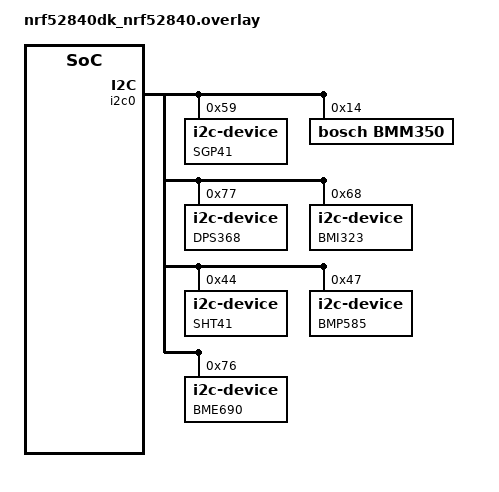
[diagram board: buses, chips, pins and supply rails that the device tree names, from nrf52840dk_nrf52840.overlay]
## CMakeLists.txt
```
# SPDX-License-Identifier: Apache-2.0

cmake_minimum_required(VERSION 3.20.0)
find_package(Zephyr REQUIRED HINTS $ENV{ZEPHYR_BASE})
project(rab7_sensorfusion)

target_sources(app PRIVATE src/main.c)
target_sources(app PRIVATE src/sgp41.c)
target_sources(app PRIVATE src/dps368.c)
target_sources(app PRIVATE src/bmi323.c)
target_sources(app PRIVATE src/sht41.c)

target_sources(app PRIVATE src/bmp585/bmp_driver.c)
target_sources(app PRIVATE src/bmp585/bmp5.c)
target_sources(app PRIVATE src/bmp585/bmp585_app.c)

target_sources(app PRIVATE src/bme690/bme_driver.c)
target_sources(app PRIVATE src/bme690/bme69x.c)
target_sources(app PRIVATE src/bme690/bme690_app.c)

target_sources(app PRIVATE src/sensirion_gas_index_algorithm.c)
```

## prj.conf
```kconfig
# Increase stack size for the main thread and System Workqueue
CONFIG_SYSTEM_WORKQUEUE_STACK_SIZE=2048
CONFIG_MAIN_STACK_SIZE=4096

# I2C and GPIO
CONFIG_GPIO=y
CONFIG_I2C=y

# Bluetooth
CONFIG_BT=y
CONFIG_BT_PERIPHERAL=y
CONFIG_BT_DEVICE_NAME="RDK3_Nordic_Std"
CONFIG_BT_DIS=y
CONFIG_BT_DIS_SW_REV=y
CONFIG_BT_DIS_SW_REV_STR="1.3"
CONFIG_BT_DIS_MODEL="Nordic_Std"
CONFIG_BT_BUF_ACL_RX_SIZE=247
CONFIG_BT_L2CAP_TX_MTU=247
CONFIG_BT_RX_STACK_SIZE=8192

# BMM350
CONFIG_SENSOR=y
CONFIG_BMM350=y

# Enable FPU for math
CONFIG_FPU=y
```

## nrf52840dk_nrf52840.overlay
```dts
// To get started, press Ctrl+Space to bring up the completion menu and view the available nodes.

// You can also use the buttons in the sidebar to perform actions on nodes.
// Actions currently available include:

// * Enabling / disabling the node
// * Adding the bus to a bus
// * Removing the node
// * Connecting ADC channels

// For more help, browse the DeviceTree documentation at https://docs.zephyrproject.org/latest/guides/dts/index.html
// You can also visit the nRF DeviceTree extension documentation at https://docs.nordicsemi.com/bundle/nrf-connect-vscode/page/guides/ncs_configure_app.html#devicetree-support-in-the-extension

&i2c0 {
    sgp41sensor: sgp41sensor@59 {
        compatible = "i2c-device";
        reg = < 0x59 >;
        label = "SGP41";  
    };

    bmm350@14 {
        compatible="bosch,bmm350";
        reg = < 0x14 >;
        label = "BMM350";
    };

    dps368sensor: dps368sensor@77 {
        compatible = "i2c-device";
        reg = < 0x77 >;
        label = "DPS368";  
    };

    bmi323sensor: bmi323sensor@68 {
        compatible = "i2c-device";
        reg = < 0x68 >;
        label = "BMI323";  
    };

    sht41sensor: sht41sensor@44 {
        compatible = "i2c-device";
        reg = < 0x44 >;
        label = "SHT41";  
    };

    bmp585sensor: bmp585sensor@47 {
        compatible = "i2c-device";
        reg = < 0x47 >;
        label = "BMP585";  
    };

    bme690sensor: bme690sensor@76 {
        compatible = "i2c-device";
        reg = < 0x76 >;
        label = "BME690";  
    };
};
```

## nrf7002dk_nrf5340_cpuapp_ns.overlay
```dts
// To get started, press Ctrl+Space to bring up the completion menu and view the available nodes.

// You can also use the buttons in the sidebar to perform actions on nodes.
// Actions currently available include:

// * Enabling / disabling the node
// * Adding the bus to a bus
// * Removing the node
// * Connecting ADC channels

// For more help, browse the DeviceTree documentation at https://docs.zephyrproject.org/latest/guides/dts/index.html
// You can also visit the nRF DeviceTree extension documentation at https://docs.nordicsemi.com/bundle/nrf-connect-vscode/page/guides/ncs_configure_app.html#devicetree-support-in-the-extension
&i2c1 {
    sgp41sensor: sgp41sensor@59 {
        compatible = "i2c-device";
        reg = < 0x59 >;
        label = "SGP41";  
    };

    bmm350@14 {
        compatible="bosch,bmm350";
        reg = < 0x14 >;
        label = "BMM350";
    };

    dps368sensor: dps368sensor@77 {
        compatible = "i2c-device";
        reg = < 0x77 >;
        label = "DPS368";  
    };

    bmi323sensor: bmi323sensor@68 {
        compatible = "i2c-device";
        reg = < 0x68 >;
        label = "BMI323";  
    };

    sht41sensor: sht41sensor@44 {
        compatible = "i2c-device";
        reg = < 0x44 >;
        label = "SHT41";  
    };

    bmp585sensor: bmp585sensor@47 {
        compatible = "i2c-device";
        reg = < 0x47 >;
        label = "BMP585";  
    };

    bme690sensor: bme690sensor@76 {
        compatible = "i2c-device";
        reg = < 0x76 >;
        label = "BME690";  
    };
};
```

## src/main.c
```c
/*
 * Copyright (c) 2016 Intel Corporation
 *
 * SPDX-License-Identifier: Apache-2.0
 */

#include <stdio.h>
#include <zephyr/kernel.h>
#include <zephyr/drivers/gpio.h>

#include <zephyr/drivers/i2c.h>

#include "sgp41.h"
#include "dps368.h"
#include "bmi323.h"
#include "sht41.h"
#include "bmp585/bmp_driver.h"
#include "bmp585/bmp585_app.h"
#include "bme690/bme_driver.h"
#include "bme690/bme690_app.h"

#include <zephyr/bluetooth/bluetooth.h>
#include <zephyr/bluetooth/conn.h>
#include <zephyr/bluetooth/hci.h>
#include <zephyr/bluetooth/uuid.h>
#include <zephyr/bluetooth/gatt.h>

#include <zephyr/drivers/sensor.h>

#include "sensirion_gas_index_algorithm.h"

/**
 * Service UUID (same as RDK3)
 */
#define BT_UUID_SERVICE_VAL \
	BT_UUID_128_ENCODE(0x76B6758B, 0xFEDC, 0x45F0, 0xA5A4, 0x4F49559BD71D)

#define BT_UUID_CHAR_VAL \
	BT_UUID_128_ENCODE(0x9DC72F3C, 0x9623, 0x479B, 0xB2E3, 0xCA83316A0A0F)

#define BT_UUID_SERVICE	BT_UUID_DECLARE_128(BT_UUID_SERVICE_VAL)
#define BT_UUID_CHAR	BT_UUID_DECLARE_128(BT_UUID_CHAR_VAL)

static bool notify_mysensor_enabled = false;

static ssize_t write_char(struct bt_conn *conn, const struct bt_gatt_attr *attr, const void *buf,
			 uint16_t len, uint16_t offset, uint8_t flags);

/* STEP 13 - Define the configuration change callback function for the MYSENSOR characteristic */
static void mylbsbc_ccc_mysensor_cfg_changed(const struct bt_gatt_attr *attr, uint16_t value)
{
	notify_mysensor_enabled = (value == BT_GATT_CCC_NOTIFY);

	printk("Notify enabled: %d \n", (int)notify_mysensor_enabled);
}

BT_GATT_SERVICE_DEFINE(my_lbs_svc, BT_GATT_PRIMARY_SERVICE(BT_UUID_SERVICE),
				BT_GATT_CHARACTERISTIC(BT_UUID_CHAR, BT_GATT_CHRC_WRITE | BT_GATT_CHRC_NOTIFY, BT_GATT_PERM_WRITE, NULL, write_char, NULL),
				BT_GATT_CCC(mylbsbc_ccc_mysensor_cfg_changed, BT_GATT_PERM_READ | BT_GATT_PERM_WRITE),
);

static ssize_t write_char(struct bt_conn *conn, const struct bt_gatt_attr *attr, const void *buf,
			 uint16_t len, uint16_t offset, uint8_t flags)
{
	printk("write_char - len is %d \n", len);

	uint8_t cmd = *((uint8_t*) buf);

	printk("CMD is : %d \n", (int)cmd);

	/*const char *value = attr->user_data;

	some_data = some_data + 1;

	return bt_gatt_attr_read(conn, attr, buf, len, offset, value, sizeof(*value));*/

	if (cmd == 0)
	{
		uint32_t sensors = (1 << 6); // RAB7
		int retval = bt_gatt_notify(NULL, &my_lbs_svc.attrs[2], &sensors, sizeof(sensors));
		printk("Write char: %d \n", retval);
	}

	return len;
}

/* 1000 msec = 1 sec */
#define SLEEP_TIME_MS   1000

/* The devicetree node identifier for the "led0" alias. */
#define LED0_NODE DT_ALIAS(led0)

// Get access to SGP41 sensor
#define I2C_SGP41_NODE DT_NODELABEL(sgp41sensor)

// Get access to the DPS368 sensor
#define I2C_DPS368_NODE DT_NODELABEL(dps368sensor)

// Get access to the BMI323 sensor
#define I2C_BMI323_NODE DT_NODELABEL(bmi323sensor)

// Get access to the SHT41 sensor
#define I2C_SHT41_NODE DT_NODELABEL(sht41sensor)

// Get access to the BMP585
#define I2C_BMP585_NODE DT_NODELABEL(bmp585sensor)

// Get access to the BME690
#define I2C_BME690_NODE DT_NODELABEL(bme690sensor)

/*
 * A build error on this line means your board is unsupported.
 * See the sample documentation for information on how to fix this.
 */
static const struct gpio_dt_spec led = GPIO_DT_SPEC_GET(LED0_NODE, gpios);

// BT initialization handler
static void bt_ready(int err) 
{
	printf("bt_ready: %d\n", err);
    if (err) {
        return;
    }
}

#define DEVICE_NAME             CONFIG_BT_DEVICE_NAME
#define DEVICE_NAME_LEN         (sizeof(DEVICE_NAME) - 1)

/**
 * Advertising data
 */
static const struct bt_data ad[] = {
	BT_DATA_BYTES(BT_DATA_FLAGS, (BT_LE_AD_GENERAL | BT_LE_AD_NO_BREDR)),
	BT_DATA(BT_DATA_NAME_COMPLETE, DEVICE_NAME, DEVICE_NAME_LEN),
};

/**
 * Scan response packet
 */

static unsigned char url_data[] ={0x17,'/','/','r','u','t','r','o','n','i','k','.','c','o','m'};

/*static const struct bt_data sd[] = {
    BT_DATA_BYTES(BT_DATA_UUID128_ALL, 0x84, 0xaa, 0x60, 0x74, 0x52, 0x8a, 0x8b,
                  0x86, 0xd3, 0x4c, 0xb7, 0x1d, 0x1d, 0xdc, 0x53, 0x8d),
};*/
static const struct bt_data sd[] = {
    BT_DATA(BT_DATA_URI, url_data,sizeof(url_data)),
};

struct bt_conn *my_conn;

static void connected(struct bt_conn *conn, uint8_t err) {
    printk("BLE connected: err = %d\n", err);

	if(err){
		printk("Error, return...\n");
		return;
	}

	my_conn = bt_conn_ref(conn);

	// gpio_pin_set_dt(&led_ble_connection, 1);
}

static void disconnected(struct bt_conn *conn, uint8_t reason) {
    printk("BLE disconnected: reason = %d\n", reason);

	bt_conn_unref(my_conn);

	// gpio_pin_set_dt(&led_ble_connection, 0);
}

void on_le_param_updated(struct bt_conn *conn, uint16_t interval, uint16_t latency, uint16_t timeout)
{
    double connection_interval = interval*1.25;         // in ms
    uint16_t supervision_timeout = timeout*10;          // in ms
    printk("Connection parameters updated: interval %.2f ms, latency %d intervals, timeout %d ms\n", connection_interval, latency, supervision_timeout);
}

static const struct bt_le_adv_param *adv_param = BT_LE_ADV_PARAM((BT_LE_ADV_OPT_CONN|BT_LE_ADV_OPT_USE_IDENTITY), 
                800, /*Min Advertising Interval 500ms (800*0.625ms) */
                801, /*Max Advertising Interval 500.625ms (801*0.625ms)*/
                NULL); /* Set to NULL for undirected advertising*/

static struct k_work adv_work;

static void adv_work_handler(struct k_work *work)
{
	int err = bt_le_adv_start(adv_param, ad, ARRAY_SIZE(ad), sd, ARRAY_SIZE(sd));

	if (err) {
		printk("Advertising failed to start (err %d)\n", err);
		return;
	}

	printk("Advertising successfully started\n");
}

static void advertising_start(void)
{
	k_work_submit(&adv_work);
}
static void recycled_cb(void)
{
	printk("Connection object available from previous conn. Disconnect is complete!\n");
	advertising_start();
}

static struct bt_conn_cb conn_callbacks = {
    .connected = connected,
    .disconnected = disconnected,
	.le_param_updated = on_le_param_updated,
	.recycled = recycled_cb
};

static void notify_sgp41_value(uint16_t voc_raw, uint16_t nox_raw, int32_t voc_index, int32_t nox_index)
{
	uint8_t data_packet[16] = {0};
	const uint16_t sensor_id = 0x10;
	const uint8_t data_size = 12;
	const uint8_t notification_size = data_size + 4;
	
	data_packet[0] = (uint8_t) (sensor_id & 0xFF);
	data_packet[1] = (uint8_t) (sensor_id >> 8);

	data_packet[2] = data_size;

	*((uint16_t*) &data_packet[3]) = voc_raw;
	*((uint16_t*) &data_packet[5]) = nox_raw;
	*((int32_t*) &data_packet[7]) = voc_index;
	*((int32_t*) &data_packet[11]) = nox_index;

	data_packet[notification_size - 1] = 0x3;

	if (notify_mysensor_enabled)
	{
		bt_gatt_notify(NULL, &my_lbs_svc.attrs[2], data_packet, sizeof(data_packet));
	}
}

static void notify_bmm350_value(float temperature, float mag_x, float mag_y, float mag_z)
{
	uint8_t data_packet[20] = {0};
	const uint16_t sensor_id = 0x11;
	const uint8_t data_size = 16;
	const uint8_t notification_size = data_size + 4;
	
	data_packet[0] = (uint8_t) (sensor_id & 0xFF);
	data_packet[1] = (uint8_t) (sensor_id >> 8);

	data_packet[2] = data_size;

	*((float*) &data_packet[3]) = temperature;
	*((float*) &data_packet[7]) = mag_x;
	*((float*) &data_packet[11]) = mag_y;
	*((float*) &data_packet[15]) = mag_z;

	data_packet[notification_size - 1] = 0x3;

	if (notify_mysensor_enabled)
	{
		bt_gatt_notify(NULL, &my_lbs_svc.attrs[2], data_packet, sizeof(data_packet));
	}
}

static void notify_dps368_value(float pressure, float temperature)
{
	uint8_t data_packet[12] = {0};
	const uint16_t sensor_id = 0x14;
	const uint8_t data_size = 8;
	const uint8_t notification_size = data_size + 4;
	
	data_packet[0] = (uint8_t) (sensor_id & 0xFF);
	data_packet[1] = (uint8_t) (sensor_id >> 8);

	data_packet[2] = data_size;

	*((float*) &data_packet[3]) = pressure;
	*((float*) &data_packet[7]) = temperature;

	data_packet[notification_size - 1] = 0x3;

	if (notify_mysensor_enabled)
	{
		bt_gatt_notify(NULL, &my_lbs_svc.attrs[2], data_packet, sizeof(data_packet));
	}
}

static void notify_bmi323_value(bmi323_values_t value)
{
	uint8_t data_packet[16] = {0};
	const uint16_t sensor_id = 0x15;
	const uint8_t data_size = 12;
	const uint8_t notification_size = data_size + 4;
	
	data_packet[0] = (uint8_t) (sensor_id & 0xFF);
	data_packet[1] = (uint8_t) (sensor_id >> 8);

	data_packet[2] = data_size;

	*((int16_t*) &data_packet[3]) = value.acc_x;
	*((int16_t*) &data_packet[5]) = value.acc_y;
	*((int16_t*) &data_packet[7]) = value.acc_z;
	*((int16_t*) &data_packet[9]) = value.gyr_x;
	*((int16_t*) &data_packet[11]) = value.gyr_y;
	*((int16_t*) &data_packet[13]) = value.gyr_z;

	data_packet[notification_size - 1] = 0x3;

	if (notify_mysensor_enabled)
	{
		bt_gatt_notify(NULL, &my_lbs_svc.attrs[2], data_packet, sizeof(data_packet));
	}
}

static void notify_sht41_value(float temperature, float humidity)
{
	uint8_t data_packet[12] = {0};
	const uint16_t sensor_id = 0x1;
	const uint8_t data_size = 8;
	const uint8_t notification_size = data_size + 4;
	
	data_packet[0] = (uint8_t) (sensor_id & 0xFF);
	data_packet[1] = (uint8_t) (sensor_id >> 8);

	data_packet[2] = data_size;

	*((float*) &data_packet[3]) = temperature;
	*((float*) &data_packet[7]) = humidity;

	data_packet[notification_size - 1] = 0x3;

	if (notify_mysensor_enabled)
	{
		bt_gatt_notify(NULL, &my_lbs_svc.attrs[2], data_packet, sizeof(data_packet));
	}
}


static void notify_bmp585_value(float pressure, float temperature)
{
	uint8_t data_packet[12] = {0};
	const uint16_t sensor_id = 0x13;
	const uint8_t data_size = 8;
	const uint8_t notification_size = data_size + 4;
	
	data_packet[0] = (uint8_t) (sensor_id & 0xFF);
	data_packet[1] = (uint8_t) (sensor_id >> 8);

	data_packet[2] = data_size;

	*((float*) &data_packet[3]) = pressure;
	*((float*) &data_packet[7]) = temperature;

	data_packet[notification_size - 1] = 0x3;

	if (notify_mysensor_enabled)
	{
		bt_gatt_notify(NULL, &my_lbs_svc.attrs[2], data_packet, sizeof(data_packet));
	}
}

static void notify_bme690_value(bme69x_data_t* bme_data)
{
	uint8_t data_packet[26] = {0};
	const uint16_t sensor_id = 0x12;
	const uint8_t data_size = 22;
	const uint8_t notification_size = data_size + 4;
	
	data_packet[0] = (uint8_t) (sensor_id & 0xFF);
	data_packet[1] = (uint8_t) (sensor_id >> 8);

	data_packet[2] = data_size;

	data_packet[3] = bme_data->status;
	data_packet[4] = bme_data->gas_index;
	data_packet[5] = bme_data->meas_index;
	data_packet[6] = bme_data->res_heat;
	data_packet[7] = bme_data->idac;
	data_packet[8] = bme_data->gas_wait;

	*((float*) &data_packet[9]) = bme_data->temperature;
	*((float*) &data_packet[13]) = bme_data->pressure;
	*((float*) &data_packet[17]) = bme_data->humidity;
	*((float*) &data_packet[21]) = bme_data->gas_resistance;

	data_packet[notification_size - 1] = 0x3;

	if (notify_mysensor_enabled)
	{
		bt_gatt_notify(NULL, &my_lbs_svc.attrs[2], data_packet, sizeof(data_packet));
	}
}


const struct device *bmm350_dev = DEVICE_DT_GET_ANY(bosch_bmm350);

static struct sensor_value simple;

int main(void)
{
	int ret;
	bool led_state = true;

	if (!gpio_is_ready_dt(&led)) {
		return 0;
	}

	printf("Test\n");

	ret = gpio_pin_configure_dt(&led, GPIO_OUTPUT_ACTIVE);
	if (ret < 0) {
		return 0;
	}

	// BLE stuff
	int ble_result = bt_enable(/*bt_ready*/NULL);
    printk("bt_enable: %d \n", ble_result);

	ble_result = bt_conn_cb_register(&conn_callbacks);
	printk("bt_conn_cb_register: %d \n", ble_result);

	//ble_result = bt_le_adv_start(adv_param, ad, ARRAY_SIZE(ad), sd, ARRAY_SIZE(sd));
	// printk("bt_le_adv_start: %d \n", ble_result);
	k_work_init(&adv_work, adv_work_handler);
	advertising_start();

	if (!device_is_ready(bmm350_dev))
	{
		printf("BMM350 is not ready...\n");
		return 0;
	}

	ret = sensor_sample_fetch(bmm350_dev);
	if (ret != 0)
	{
		printf("Cannot sensor_sample_fetch\n");
	}

	ret = sensor_channel_get(bmm350_dev, SENSOR_CHAN_MAGN_X, &simple);
	printf("ret = %d Value x: %f\n", ret, sensor_value_to_double(&simple));

	ret = sensor_channel_get(bmm350_dev, SENSOR_CHAN_MAGN_Y, &simple);
	printf("ret = %d Value y: %f\n", ret, sensor_value_to_double(&simple));

	ret = sensor_channel_get(bmm350_dev, SENSOR_CHAN_MAGN_Z, &simple);
	printf("ret = %d Value z: %f\n", ret, sensor_value_to_double(&simple));

	// I2C stuff
	static const struct i2c_dt_spec dev_i2c = I2C_DT_SPEC_GET(I2C_SGP41_NODE);
	if (!device_is_ready(dev_i2c.bus)) {
		printf("I2C bus %s is not ready!\n\r",dev_i2c.bus->name);
		return 0;
	}
	printf("SGP41 I2C Initialized\n");
	sgp41_set_i2c_spec(&dev_i2c);

	static const struct i2c_dt_spec dev_i2c_dps368 = I2C_DT_SPEC_GET(I2C_DPS368_NODE);
	if (!device_is_ready(dev_i2c_dps368.bus)) {
		printf("I2C bus %s is not ready!\n\r",dev_i2c_dps368.bus->name);
		return 0;
	}
	dps368_set_i2c_spec(&dev_i2c_dps368);

	printf("dsp368 init: %d\n", dps368_init());


	// BMI 323
	static const struct i2c_dt_spec dev_i2c_bmi323 = I2C_DT_SPEC_GET(I2C_BMI323_NODE);
	if (!device_is_ready(dev_i2c_bmi323.bus)) {
		printf("I2C bus %s is not ready!\n\r",dev_i2c_bmi323.bus->name);
		return 0;
	}
	bmi323_set_i2c_spec(&dev_i2c_bmi323);

	uint8_t bmi323_chip = 0;
	if (bmi323_get_chip_id(&bmi323_chip) != 0)
	{
		printf("Bmi323 cannot get id\n");
		return 0;
	}
	printf("Bmi323 id: %d \n", bmi323_chip);

	if (bmi323_do_configuration() != 0)
	{
		printf("Bmi323 cannot do configuration\n");
		return 0;
	}


	// SHT41
	static const struct i2c_dt_spec dev_i2c_sht41 = I2C_DT_SPEC_GET(I2C_SHT41_NODE);
	if (!device_is_ready(dev_i2c_sht41.bus)) {
		printf("I2C bus %s is not ready!\n\r",dev_i2c_sht41.bus->name);
		return 0;
	}
	sht41_set_i2c_spec(&dev_i2c_sht41);

	uint32_t sht41_serial = 0;
	if (sht41_get_serial_number(&sht41_serial) != 0)
	{
		printf("Error getting sht41 serial number\n");
		return 0;
	}

	printf("Serial number is :0x%x\n", sht41_serial);

	// BMP585
	static const struct i2c_dt_spec dev_i2c_bmp585 = I2C_DT_SPEC_GET(I2C_BMP585_NODE);
	if (!device_is_ready(dev_i2c_bmp585.bus)) {
		printf("I2C bus %s is not ready!\n\r",dev_i2c_bmp585.bus->name);
		return 0;
	}
	bmp585_set_i2c_spec(&dev_i2c_bmp585);

	if (bmp585_app_init() != 0)
	{
		printf("Cannot init bmp585 app\n");
		return 0;
	}

	// BME690
	static const struct i2c_dt_spec dev_i2c_bme690 = I2C_DT_SPEC_GET(I2C_BME690_NODE);
	if (!device_is_ready(dev_i2c_bme690.bus)) {
		printf("I2C bus %s is not ready!\n\r",dev_i2c_bme690.bus->name);
		return 0;
	}
	bme690_set_i2c_spec(&dev_i2c_bme690);

	if (bme690_app_init() != 0)
	{
		printf("Cannot init bme690 app\n");
		return 0;	
	}


	// SGP41
	sgp41_serial_number_t serial_number;
	ret = sgp41_get_serial_number(&serial_number);
	if (ret != 0){
		printf("Cannot get serial: %d \n", ret);
		return 0;
	}

	printf("Serial: %d %d %d %d %d %d\n",
		serial_number.data[0],
		serial_number.data[1],
		serial_number.data[2],
		serial_number.data[3],
		serial_number.data[4],
		serial_number.data[5]);

	// Start conditioning
	ret = sgp41_execute_conditioning(SGP41_DEFAULT_RH, SGP41_DEFAULT_T);
	if (ret != 0){
		printf("Cannot do conditioning: %d \n", ret);
		return 0;
	}

	printf("Conditioning done\n");

	k_msleep(500);

	int counter = 0;

	float comp_temperature = 25;
	float comp_humidity = 50;

	GasIndexAlgorithmParams gas_index_voc_params;
	GasIndexAlgorithmParams gas_index_nox_params;

	GasIndexAlgorithm_init(&gas_index_voc_params, GasIndexAlgorithm_ALGORITHM_TYPE_VOC);
	GasIndexAlgorithm_init(&gas_index_nox_params, GasIndexAlgorithm_ALGORITHM_TYPE_NOX);

	// Do measurement
	for(;;)
	{
		if (counter == 0)
		{
			uint16_t comp_rh = (uint16_t)comp_humidity * 65535 / 100;
			uint16_t comp_t = (uint16_t)(comp_temperature + 45) * 65535 / 175;

			ret = sgp41_measure_raw_signals(comp_rh, comp_t);
			if (ret != 0){
				printf("Cannot do measurement: %d \n", ret);
				return 0;
			}
		}

		ret = sensor_sample_fetch(bmm350_dev);
		if (ret != 0)
		{
			printf("Cannot sensor_sample_fetch\n");
			return 0;
		}

		k_msleep(100);

		if (counter == 0)
		{
			uint16_t nox = 0;
			uint16_t voc = 0;

			ret = sgp41_read_raw_signals(&voc, & nox);
			if (ret != 0){
				printf("Cannot read measurement: %d \n", ret);
				return 0;
			}

			int32_t voc_index = 0;
			int32_t nox_index = 0;

			GasIndexAlgorithm_process(&gas_index_voc_params, voc, &voc_index);
			GasIndexAlgorithm_process(&gas_index_nox_params, nox, &nox_index);

			notify_sgp41_value(voc, nox, voc_index, nox_index);

			float temperature = 0;
			float pressure = 0;
			ret = dps368_get_values(&pressure, &temperature);
			if (ret != 0){
				printf("dps368_get_values: %d \n", ret);
				return 0;
			}

			// convert to Pa
			pressure = pressure * 100;
			notify_dps368_value(pressure, temperature);

			float humidity = 0;
			ret = sht41_get_temperature_and_humidity(&temperature, &humidity);
			if (ret != 0)
			{
				printf("sht41 get value error: %d\n", ret);
				return 0;
			}

			notify_sht41_value(temperature, humidity);

			// Store for compensation of SGP41 values
			comp_humidity = humidity;
			comp_temperature = temperature;

			if (bmp585_read_data(&temperature, &pressure) != 0)
			{
				printf("CAnnot read bmp585 data\n");
				return 0;
			}

			notify_bmp585_value(pressure, temperature);
		}

		counter++;
		if (counter >= 9) counter = 0;

		float mag_x = 0;
		float mag_y = 0;
		float mag_z = 0;
		sensor_channel_get(bmm350_dev, SENSOR_CHAN_MAGN_X, &simple);
		mag_x = sensor_value_to_float(&simple);

		sensor_channel_get(bmm350_dev, SENSOR_CHAN_MAGN_Y, &simple);
		mag_y = sensor_value_to_float(&simple);

		sensor_channel_get(bmm350_dev, SENSOR_CHAN_MAGN_Z, &simple);
		mag_z = sensor_value_to_float(&simple);

		// printf("VOC = %d \t NOX = %d\n", voc, nox);
		
		notify_bmm350_value(0, mag_x, mag_y, mag_z);

		bmi323_values_t bmi323_values;
		if (bmi323_get_data(&bmi323_values) != 0)
		{
			printf("Bmi323 get data error\n");
			return 0;
		}
		notify_bmi323_value(bmi323_values);

		// Data available?
		uint8_t fields_count = 0;
		if (bme690_data_available(&fields_count) == 0)
		{
			for(uint8_t field_idx = 0; field_idx < fields_count; ++field_idx)
			{
				bme69x_data_t bme690_data = {0};
				if (bme690_data_read(&bme690_data, field_idx))
				{
					notify_bme690_value(&bme690_data);
				}
			}
		}
	}

/*
	// Get serial number
	uint8_t config[2] = {0x36,0x82};
	uint8_t serial_number[9] = {0};

	ret = i2c_write_dt(&dev_i2c, config, sizeof(config));
	if(ret != 0){
		printf("Failed to write to I2C device address %x at reg. %x \n\r", dev_i2c.addr,config[0]);
		return 0;
	}

	ret = i2c_read_dt(&dev_i2c, serial_number, sizeof(serial_number));
	if(ret != 0){
		printf("Failed to read from I2C device address %x at Reg. %x \n\r", dev_i2c.addr,config[0]);
		return 0;
	}


	// Execute conditioning
	uint8_t conditioning_cmd[2] = {0x26,0x12};


	// Start measurement


	for (int i = 0; i <9; ++i){
		printf("%d \n", serial_number[i]);
	}

*/

	for(;;){
		k_msleep(SLEEP_TIME_MS);
	}


	while (1) {
		ret = gpio_pin_toggle_dt(&led);
		if (ret < 0) {
			return 0;
		}

		led_state = !led_state;
		printf("LED state: %s\n", led_state ? "ON" : "OFF");
		k_msleep(SLEEP_TIME_MS);

	}
	return 0;
}
```

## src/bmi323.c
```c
#include "bmi323.h"

static const struct i2c_dt_spec *i2c_spec;

void bmi323_set_i2c_spec(const struct i2c_dt_spec *spec)
{
    i2c_spec = spec;
}

int bmi323_get_chip_id(uint8_t* chip_id)
{
    uint8_t addr = 0;
    uint8_t read_buffer[3] = {0};
    
    // 2 dummy bytes (in I2C mode)

    if (i2c_write_read_dt(i2c_spec, &addr, sizeof(addr), read_buffer, sizeof(read_buffer)) != 0) return -1;

    *chip_id = read_buffer[2];

    return 0;
}

int bmi323_do_configuration()
{
    // TODO: make it with parameters

    // 0x4000: normal mode
    // 0x0000: no averaging
    // 0x0000: filtering to ODR/2
    // Range 8g: 0x0020
    // ODR 50Hz: 0x0007
    uint8_t acc_config[3] = {0x20, 0x27, 0x40};

    uint8_t gyr_config[3] = {0x21, 0x4B, 0x40};

    if (i2c_write_dt(i2c_spec, acc_config, sizeof(acc_config)) != 0) return -1;
    if (i2c_write_dt(i2c_spec, gyr_config, sizeof(gyr_config)) != 0) return -2;

    return 0;
}

int bmi323_get_data(bmi323_values_t* values)
{
    uint8_t addr = 3;
    uint8_t read_buffer[14] = {0};
    
    // 2 dummy bytes (in I2C mode)

    if (i2c_write_read_dt(i2c_spec, &addr, sizeof(addr), read_buffer, sizeof(read_buffer)) != 0) return -1;

    // Convert
    values->acc_x = *((int16_t*)&read_buffer[2]);
    values->acc_y = *((int16_t*)&read_buffer[4]);
    values->acc_z = *((int16_t*)&read_buffer[6]);
    values->gyr_x = *((int16_t*)&read_buffer[8]);
    values->gyr_y = *((int16_t*)&read_buffer[10]);
    values->gyr_z = *((int16_t*)&read_buffer[12]);

    return 0;
}
```

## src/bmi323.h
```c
#include <zephyr/drivers/i2c.h>
#include <stdint.h>

typedef struct
{
    int16_t acc_x;
    int16_t acc_y;
    int16_t acc_z;
    int16_t gyr_x;
    int16_t gyr_y;
    int16_t gyr_z;
} bmi323_values_t;

void bmi323_set_i2c_spec(const struct i2c_dt_spec *spec);

int bmi323_get_chip_id(uint8_t* chip_id);

int bmi323_do_configuration();

int bmi323_get_data(bmi323_values_t* values);
```

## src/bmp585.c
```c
#include "bmp585.h"

static const struct i2c_dt_spec *i2c_spec;

void bmp585_set_i2c_spec(const struct i2c_dt_spec *spec)
{
    i2c_spec = spec;
}
```

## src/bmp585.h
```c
#include <zephyr/drivers/i2c.h>
#include <stdint.h>

void bmp585_set_i2c_spec(const struct i2c_dt_spec *spec);
```

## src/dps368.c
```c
#include "dps368.h"

#define RAW_VALUE_ADDR      0x00
#define PRS_CFG_ADDR        0x06
#define TMP_CFG_ADDR        0x07
#define MEAS_CFG_ADDR       0x08
#define CFG_REG_ADDR        0x09
#define COEF_REG_ADDR       0x10
#define TMP_COEF_SRCE_ADDR  0x28

#define COEF_LENGTH         18
#define RAW_VALUES_LENGTH   6

#define POW_2_11_MINUS_1                            (0x7FF)
#define POW_2_12                                    (0x1000)
#define POW_2_19_MINUS_1                            (0x7FFFF)
#define POW_2_20                                    (0x100000)
#define POW_2_15_MINUS_1                            (0x7FFF)
#define POW_2_16                                    (0x10000)
#define POW_2_23_MINUS_1                            (0x7FFFFF)
#define POW_2_24                                    (0x1000000)

static const struct i2c_dt_spec *i2c_spec;

static int16_t C0;
static int16_t C1;
static int32_t C00;
static int32_t C10;
static int32_t C01;
static int32_t C11;
static int32_t C20;
static int32_t C21;
static int32_t C30;

#define TEMP_SRC_INTERNAL   0
#define TEMP_SRC_EXTERNAL   1

#define OSR_8_TIMES 3
#define MODE_BACKGROUND_ALL 7

static uint8_t fifo_enable = 0;
static uint8_t interrupt_triggers = 0;
static uint8_t temperature_coeff_src = 0;

void dps368_set_i2c_spec(const struct i2c_dt_spec *spec)
{
    i2c_spec = spec;
}

static int dps368_read_calibration_reg()
{
    // Set read pointer
    uint8_t reg_addr = COEF_REG_ADDR;
    int ret = i2c_write_dt(i2c_spec, &reg_addr, sizeof(uint8_t));
	if(ret != 0) return -1;

    uint8_t coeff_raw[COEF_LENGTH] = {0};
    ret = i2c_read_dt(i2c_spec, coeff_raw, sizeof(coeff_raw));
	if(ret != 0) return -2;

    C0 = ((int32_t)coeff_raw[0] << 4u) + (((int32_t)coeff_raw[1] >> 4u) & 0x0F);
    if (C0 > POW_2_11_MINUS_1)
    {
        C0 = C0 - POW_2_12;
    }

    C1 = (coeff_raw[2] + ((coeff_raw[1] & 0x0F) << 8u));
    if (C1 > POW_2_11_MINUS_1)
    {
        C1 = C1 - POW_2_12;
    }

    C00 = (((int32_t)coeff_raw[4] << 4u)
                             + ((int32_t)coeff_raw[3] << 12u)) + (((int32_t)coeff_raw[5] >> 4) & 0x0F);
    if (C00 > POW_2_19_MINUS_1)
    {
        C00 = C00 - POW_2_20;
    }

    C10 = (((int32_t)coeff_raw[5] & (int32_t)0x0F) << 16u)
                            + ((int32_t)coeff_raw[6] << 8u) + coeff_raw[7];
    if (C10 > POW_2_19_MINUS_1)
    {
        C10 = C10 - POW_2_20;
    }

    C01 = (coeff_raw[9] + ((int32_t)coeff_raw[8] << 8u));
    if (C01 > POW_2_15_MINUS_1)
    {
        C01 = C01 - POW_2_16;
    }

    C11 = (coeff_raw[11] + ((int32_t)coeff_raw[10] << 8u));
    if (C11 > POW_2_15_MINUS_1)
    {
        C11 = C11 - POW_2_16;
    }

    C20 = (coeff_raw[13] + ((int32_t)coeff_raw[12] << 8u));
    if (C20 > POW_2_15_MINUS_1)
    {
        C20 = C20 - POW_2_16;
    }

    C21 = (coeff_raw[15] + ((int32_t)coeff_raw[14] << 8u));
    if (C21 > POW_2_15_MINUS_1)
    {
        C21 = C21 - POW_2_16;
    }

    C30 = (coeff_raw[17] + ((int32_t)coeff_raw[16] << 8u));
    if (C30 > POW_2_15_MINUS_1)
    {
        C30 = C30 - POW_2_16;
    }

    return 0;
}

/*
 * function to fix a hardware problem on some devices
 * you have this bug if you measure around 60°C when temperature is around 20°C
 * call dps368_hw_bug_fix() directly in the init() function to fix this issue
 */
static int dps368_hw_bug_fix()
{
    uint8_t reg_value[2] = { 0x0E, 0xA5 };
    int ret = i2c_write_dt(i2c_spec, reg_value, sizeof(reg_value));
	if(ret != 0) return -1;

    reg_value[0] = 0x0F;
    reg_value[1] = 0x96;
    ret = i2c_write_dt(i2c_spec, reg_value, sizeof(reg_value));
	if(ret != 0) return -2;

    reg_value[0] = 0x62;
    reg_value[1] = 0x02;
    ret = i2c_write_dt(i2c_spec, reg_value, sizeof(reg_value));
	if(ret != 0) return -2;

    reg_value[0] = 0x0E;
    reg_value[1] = 0x00;
    ret = i2c_write_dt(i2c_spec, reg_value, sizeof(reg_value));
	if(ret != 0) return -2;

    reg_value[0] = 0x0F;
    reg_value[1] = 0x00;
    ret = i2c_write_dt(i2c_spec, reg_value, sizeof(reg_value));
	if(ret != 0) return -2;

    return 0;
}

/**
 * @brief Set temperature measurement configuration
 * 
 * @param [in] temp_measurement Source - 0: internal / 1: external
 * @param [in] rate Measurement rate 0: 1 meas/sec, 1: 2 meas/sec, ..., 7: 128 meas/sec
 * @param [in] osr Oversampling (precision) 0: single, 1: 2 times, ..., 7: 128 times
 */
static int dps368_set_temperature_config(uint8_t temp_measurement, uint8_t rate, uint8_t osr)
{
    uint8_t reg_value = (temp_measurement << 7) | (rate << 4) | osr;
    uint8_t to_write[2] = { TMP_CFG_ADDR, reg_value };

    int ret = i2c_write_dt(i2c_spec, to_write, sizeof(to_write));
	if(ret != 0) return -1;

    // OSR > 8 times
    if (osr > OSR_8_TIMES)
    {
        // TODO
    }

    return 0;
}

/**
 * @brief Set pressure measurement configuration
 * 
 * @param [in] rate Measurement rate 0: 1 meas/sec, 1: 2 meas/sec, ..., 7: 128 meas/sec
 * @param [in] osr Oversampling (precision) 0: single, 1: 2 times, ..., 7: 128 times
 */
static int dps368_set_pressure_config(uint8_t rate, uint8_t osr)
{
    uint8_t reg_value = (rate << 4) | osr;
    uint8_t to_write[2] = { PRS_CFG_ADDR, reg_value };

    int ret = i2c_write_dt(i2c_spec, to_write, sizeof(to_write));
	if(ret != 0) return -1;

    // OSR > 8 times
    if (osr > OSR_8_TIMES)
    {
        // TODO
    }

    return 0;
}

/**
 * @brief Set the measurement mode
 * 
 * @param[in] measurement_mode  
 *              0: stop measurement
 *              1: command mode - pressure measurement
 *              2: command mode - temperature measurement
 *              5: continuous pressure measurement
 *              6: continuous temperature measurement
 *              7: continuous pressure and temperature measurement
 */
static int dps368_set_measurement_mode(uint8_t measurement_mode)
{
    uint8_t to_write[2] = { MEAS_CFG_ADDR, measurement_mode };

    int ret = i2c_write_dt(i2c_spec, to_write, sizeof(to_write));
	if(ret != 0) return -1;

    return 0;
}

static int dps368_read_raw_values(uint8_t* raw_values)
{
    // Set read pointer
    uint8_t reg_addr = RAW_VALUE_ADDR;
    int ret = i2c_write_dt(i2c_spec, &reg_addr, sizeof(uint8_t));
	if(ret != 0) return -1;

    // Read the 6 values
    ret = i2c_read_dt(i2c_spec, raw_values, RAW_VALUES_LENGTH);
	if(ret != 0) return -2;

    return 0;
}

static float dps368_calc_temp_scaled(int32_t temp_raw)
{
    if (temp_raw > POW_2_23_MINUS_1)
    {
        temp_raw -= POW_2_24;
    }

    // TODO: use selected OSR coeff
    float temp_scaled = (float)temp_raw / (float)524288;
    return temp_scaled;
}

static float dps368_calc_temperature(int32_t temp_raw)
{
    if (temp_raw > POW_2_23_MINUS_1)
    {
        temp_raw -= POW_2_24;
    }

    // TODO: use selected OSR coeff
    float temp_scaled = (float)temp_raw / (float)524288;

    int64_t c0 = C0;
    int64_t c1 = C1;
    return (c0 / 2.0f) + (c1 * temp_scaled);
}

static float dps368_calc_pressure(int32_t press_raw, float temp_scaled)
{
    if (press_raw > POW_2_23_MINUS_1)
    {
        press_raw -= POW_2_24;
    }

    // TODO: use selected OSR coeff
    float press_scaled = (float)press_raw / (float)524288;
    int64_t c00 = C00;
    int64_t c10 = C10;
    int64_t c20 = C20;
    int64_t c30 = C30;
    int64_t c01 = C01;
    int64_t c11 = C11;
    int64_t c21 = C21;

    float Pcal = c00
                 + press_scaled * (c10 + press_scaled * (c20 + press_scaled * c30))
                 + (temp_scaled * c01)
                 + (temp_scaled * press_scaled * (c11 + press_scaled * c21));

    return Pcal * 0.01f;
}

int dps368_get_values(float* pressure, float* temperature)
{
    uint8_t raw_values[RAW_VALUES_LENGTH] = {0};
    if (dps368_read_raw_values(raw_values) != 0) return -1;

    // TODO: make it for all measurement modes
    int32_t press_raw = (int32_t)(raw_values[2]) + (raw_values[1] << 8) + (raw_values[0] << 16);
    int32_t temp_raw = (int32_t)(raw_values[5]) + (raw_values[4] << 8) + (raw_values[3] << 16);

    float temp_scaled = dps368_calc_temp_scaled(temp_raw);
    *temperature = dps368_calc_temperature(temp_raw);
    *pressure = dps368_calc_pressure(press_raw, temp_scaled);

    return 0;
}

int dps368_init()
{
    uint8_t reg_value = 0;
    int timeout_counter = 0;
    // Wait until ready (COEF_RDY and SENSOR_RDY)
    for(;;)
    {
        if (i2c_reg_read_byte_dt(i2c_spec, MEAS_CFG_ADDR, &reg_value) != 0) return -1;

        printf("Reg value = %d\n", reg_value);

        if ((reg_value & 0xC0) == 0xC0) break;

        k_msleep(10);
        timeout_counter++;
        if (timeout_counter > 10) return -2;
    }

    // Read coefficients
    if (dps368_read_calibration_reg() != 0) return -3;

    // Read configuration
    if (i2c_reg_read_byte_dt(i2c_spec, CFG_REG_ADDR, &reg_value) != 0) return -4;

    fifo_enable = ((reg_value & 0x2) != 0);
    interrupt_triggers = (reg_value & 0xF0);

    printf("fifo_enable %d \n", fifo_enable);
    printf("interrupt_triggers %d \n", interrupt_triggers);

    // Read temperature source
    if (i2c_reg_read_byte_dt(i2c_spec, TMP_COEF_SRCE_ADDR, &reg_value) != 0) return -5;

    temperature_coeff_src = ((reg_value >> 7) & 0x1) ? TEMP_SRC_EXTERNAL : TEMP_SRC_INTERNAL;
    printf("temperature_coeff_src %d \n", temperature_coeff_src);

    if (dps368_hw_bug_fix() != 0) return -6;

    // 1 measurement per sec, OSR = single
    if (dps368_set_temperature_config(temperature_coeff_src, 0, 0) != 0) return -7;

    // 1 measurement per sec, OSR = single (low precision)
    if (dps368_set_pressure_config(0, 0) != 0) return -8;

    // Measure all in background
    if (dps368_set_measurement_mode(MODE_BACKGROUND_ALL) != 0) return -9;

    return 0;
}
```

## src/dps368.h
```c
#include <zephyr/drivers/i2c.h>
#include <stdint.h>

void dps368_set_i2c_spec(const struct i2c_dt_spec *spec);

int dps368_init();

int dps368_get_values(float* pressure, float* temperature);
```

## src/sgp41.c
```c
#include "sgp41.h"

static const struct i2c_dt_spec *i2c_spec;

#define SGP41_WORD_SIZE 2

static uint8_t crc(uint8_t data[2]) 
{
    uint8_t crc = 0xFF;
    for(int i = 0; i < 2; i++) {
        crc ^= data[i];
        for(uint8_t bit = 8; bit > 0; --bit) {
            if(crc & 0x80) {
                crc = (crc << 1) ^ 0x31u;
            } else {
                crc = (crc << 1);
            }
        }
    }
    return crc;
}

static uint16_t add_command_to_buffer(uint8_t* buffer, uint16_t offset, uint16_t command)
{
    buffer[offset++] = (uint8_t)((command & 0xFF00) >> 8);
    buffer[offset++] = (uint8_t)((command & 0x00FF) >> 0);
    return offset;
}

static uint16_t add_data_to_buffer(uint8_t* buffer, uint16_t offset, uint16_t data)
{
    buffer[offset++] = (uint8_t)((data & 0xFF00) >> 8);
    buffer[offset++] = (uint8_t)((data & 0x00FF) >> 0);
    buffer[offset] = crc(&buffer[offset - SGP41_WORD_SIZE]);
    offset++;
    return offset;
}

static uint16_t bytes_to_uint16_t(uint8_t* bytes)
{
    return (uint16_t)bytes[0] << 8 | (uint16_t)bytes[1];
}

void sgp41_set_i2c_spec(const struct i2c_dt_spec *spec)
{
    i2c_spec = spec;
}

int sgp41_get_serial_number(sgp41_serial_number_t* serial_number)
{
    uint8_t buffer[9] = {0};
    
    uint16_t cmd_length = add_command_to_buffer(buffer, 0, 0x3682);

    int ret = i2c_write_dt(i2c_spec, buffer, cmd_length);
	if(ret != 0) return -1;

    ret = i2c_read_dt(i2c_spec, buffer, sizeof(buffer));
	if(ret != 0) return -2;

    // Check that the CRC matches
    uint8_t expected_crc = crc(&buffer[0]);
    if (expected_crc != buffer[2]) return -3;
    
    expected_crc = crc(&buffer[3]);
    if (expected_crc != buffer[5]) return -4;

    expected_crc = crc(&buffer[6]);
    if (expected_crc != buffer[8]) return -5;

    // Copy
    serial_number->data[0] = buffer[0];
    serial_number->data[1] = buffer[1];
    serial_number->data[2] = buffer[3];
    serial_number->data[3] = buffer[4];
    serial_number->data[4] = buffer[6];
    serial_number->data[5] = buffer[7];

    return 0;
}

int sgp41_execute_conditioning(uint16_t humidity, uint16_t temperature)
{
    uint8_t buffer[8] = {0};
    uint16_t offset = add_command_to_buffer(buffer, 0, 0x2612);
    offset = add_data_to_buffer(buffer, offset, humidity);
    offset = add_data_to_buffer(buffer, offset, temperature);

    int ret = i2c_write_dt(i2c_spec, buffer, offset);
	if(ret != 0) return -1;

    return 0;
}

int sgp41_measure_raw_signals(uint16_t humidity, uint16_t temperature)
{
    uint8_t buffer[8] = {0};
    uint16_t offset = add_command_to_buffer(buffer, 0, 0x2619);
    offset = add_data_to_buffer(buffer, offset, humidity);
    offset = add_data_to_buffer(buffer, offset, temperature);

    int ret = i2c_write_dt(i2c_spec, buffer, offset);
	if(ret != 0) return -1;

    return 0;
}

int sgp41_read_raw_signals(uint16_t* voc, uint16_t* nox)
{
    uint8_t buffer[6] = {0};

    int ret = i2c_read_dt(i2c_spec, buffer, sizeof(buffer));
	if(ret != 0) return -1;

    // Check that the CRC matches
    uint8_t expected_crc = crc(&buffer[0]);
    if (expected_crc != buffer[2]) return -2;
    
    expected_crc = crc(&buffer[3]);
    if (expected_crc != buffer[5]) return -3;

    // Convertbytes_to_uint16_t    
    *voc = bytes_to_uint16_t(&buffer[0]);
    *nox = bytes_to_uint16_t(&buffer[3]);

    return 0;
}
```

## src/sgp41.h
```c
#include <zephyr/drivers/i2c.h>
#include <stdint.h>

#define SGP41_SERIAL_NUMBER_LENGTH 6

#define SGP41_DEFAULT_RH		0x8000
#define SGP41_DEFAULT_T			0x6666

typedef struct
{
    uint8_t data[SGP41_SERIAL_NUMBER_LENGTH];
} sgp41_serial_number_t;


void sgp41_set_i2c_spec(const struct i2c_dt_spec *spec);

int sgp41_get_serial_number(sgp41_serial_number_t* serial_number);

int sgp41_execute_conditioning(uint16_t humidity, uint16_t temperature);

/**
 * @brief Start a raw signal measurement
 * You can then call sgp41_read_raw_signals after 45 to 50ms
 * 
 * @retval 0 Success
 */
int sgp41_measure_raw_signals(uint16_t humidity, uint16_t temperature);

int sgp41_read_raw_signals(uint16_t* voc, uint16_t* nox);
```

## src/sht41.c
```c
#include "sht41.h"

static const struct i2c_dt_spec *i2c_spec;

#define SHT4X_CMD_READ_SERIAL           0x89
#define SHT4X_CMD_READ_HIGH_PRECISION   0xFD

void sht41_set_i2c_spec(const struct i2c_dt_spec *spec)
{
    i2c_spec = spec;
}

int sht41_get_serial_number(uint32_t* serial_number)
{
    uint8_t addr = SHT4X_CMD_READ_SERIAL;
    uint8_t read_buffer[6] = {0};
    
    // Write addr
    if (i2c_write_dt(i2c_spec, &addr, sizeof(addr)) != 0) return -1;

    // Small wait
    k_msleep(1);

    if (i2c_read_dt(i2c_spec, read_buffer, sizeof(read_buffer)) != 0) return -2;

    uint16_t msb = *((uint16_t*)&read_buffer[0]);
    uint16_t lsb = *((uint16_t*)&read_buffer[3]);

    *serial_number = ((uint32_t)msb) << 16 | (uint32_t)lsb;
    return 0;
}

int sht41_get_raw_measurement(uint16_t* temperature, uint16_t* humidity)
{
    uint8_t addr = SHT4X_CMD_READ_HIGH_PRECISION;
    uint8_t read_buffer[6] = {0};
    
    // Write addr
    if (i2c_write_dt(i2c_spec, &addr, sizeof(addr)) != 0) return -1;

    // Small wait
    k_msleep(9);

    if (i2c_read_dt(i2c_spec, read_buffer, sizeof(read_buffer)) != 0) return -2;

    *temperature = ((uint16_t)read_buffer[0] << 8) | read_buffer[1];
    *humidity = ((uint16_t)read_buffer[3] << 8) | read_buffer[4];

    return 0;
}

int sht41_get_temperature_and_humidity(float* temperature, float* humidity)
{
    uint16_t raw_temperature = 0;
    uint16_t raw_humidity = 0;
    if (sht41_get_raw_measurement(&raw_temperature, &raw_humidity) != 0) return -1;

    // Convert
    *temperature = -45.f + 175.f * ((float)raw_temperature / 65535.f);
    *humidity = -6.f + 125.f * ((float)raw_humidity / 65535.f);

    return 0;
}
```

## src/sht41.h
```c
#include <zephyr/drivers/i2c.h>
#include <stdint.h>

void sht41_set_i2c_spec(const struct i2c_dt_spec *spec);

// Takes 1ms
int sht41_get_serial_number(uint32_t* serial_number);

// Takes 9ms
int sht41_get_raw_measurement(uint16_t* temperature, uint16_t* humidity);

// Takes 9ms
int sht41_get_temperature_and_humidity(float* temperature, float* humidity);
```
